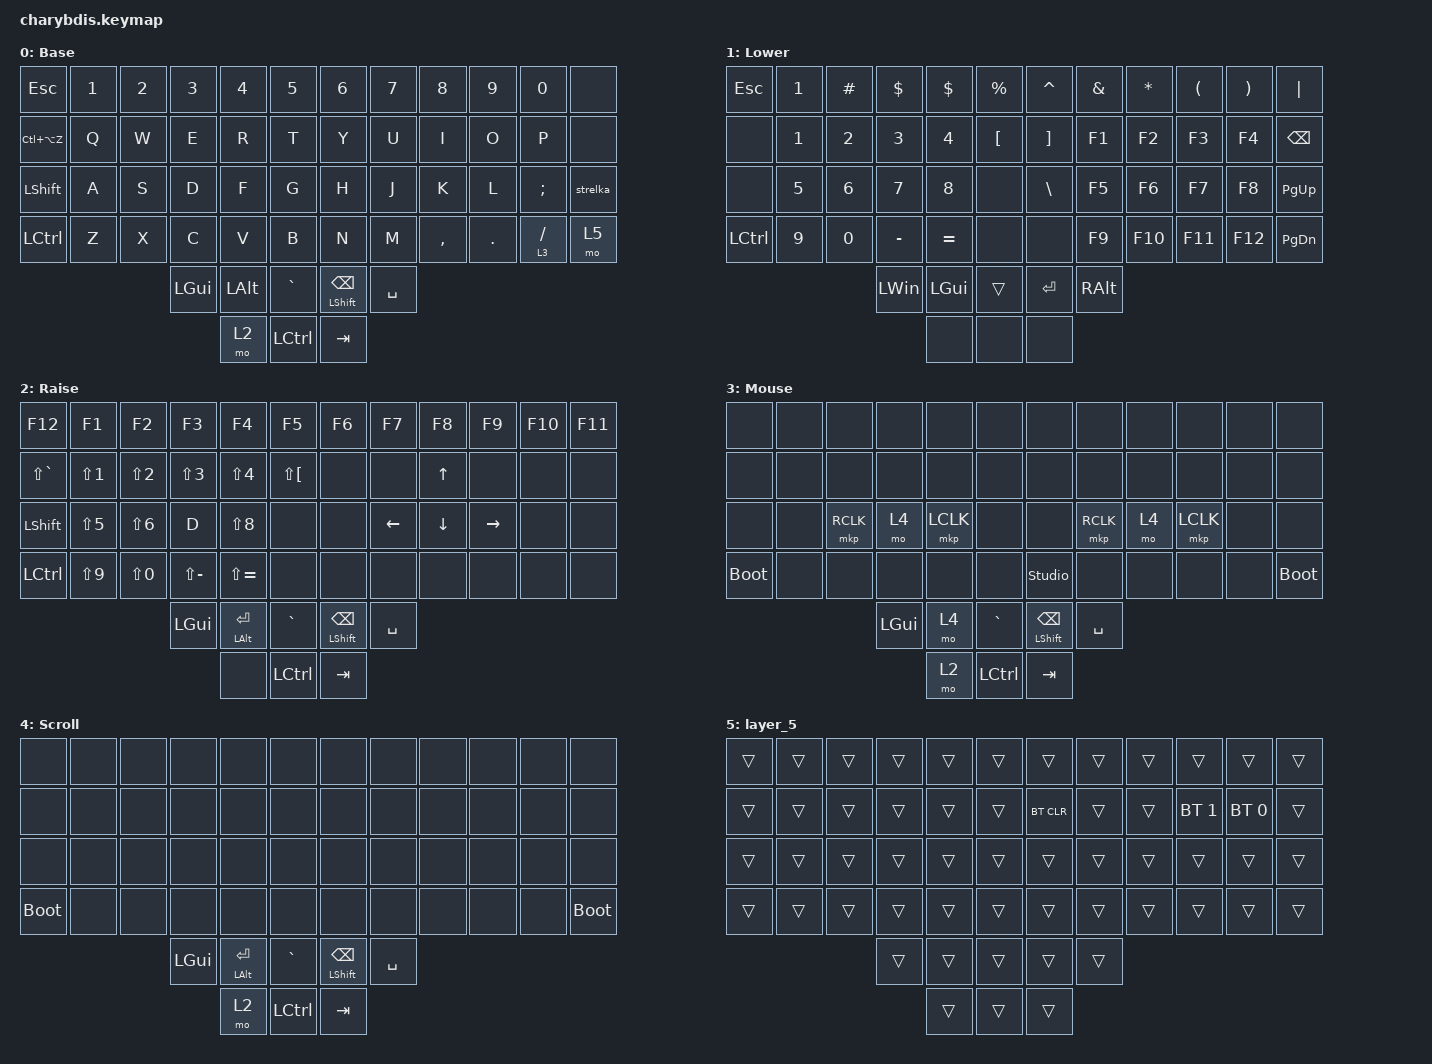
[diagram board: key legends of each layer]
#include <dt-bindings/zmk/mouse.h>
#include <behaviors.dtsi>
#include <dt-bindings/zmk/bt.h>
#include <dt-bindings/zmk/keys.h>
#include <dt-bindings/zmk/pointing.h>

&lt {
    tapping-term-ms = <200>;
    flavor = "balanced";
    quick-tap-ms = <150>;
};

/ {
    combos {
        compatible = "zmk,combos";

        rbl {
            bindings = <&kp LEFT_PARENTHESIS>;
            key-positions = <27 28>;
        };

        rbr {
            bindings = <&kp RIGHT_PARENTHESIS>;
            key-positions = <31 32>;
        };

        qbl {
            bindings = <&kp LEFT_BRACKET>;
            key-positions = <39 40>;
        };

        qbr {
            bindings = <&kp RIGHT_BRACKET>;
            key-positions = <43 44>;
        };

        fbl {
            bindings = <&kp LEFT_BRACE>;
            key-positions = <16 15>;
        };

        fbr {
            bindings = <&kp RIGHT_BRACE>;
            key-positions = <19 20>;
        };

        minus {
            bindings = <&kp MINUS>;
            key-positions = <43 40>;
        };

        backslash {
            bindings = <&kp BACKSLASH>;
            key-positions = <32 33>;
        };

        question {
            bindings = <&kp QUESTION>;
            key-positions = <45 38>;
        };

        plus {
            bindings = <&kp PLUS>;
            key-positions = <14 15>;
        };

        equal {
            bindings = <&kp EQUAL>;
            key-positions = <41 42>;
        };

        tilda {
            bindings = <&kp TILDE>;
            key-positions = <39 38>;
        };

        tochkazapyataya {
            bindings = <&kp SQT>;
            key-positions = <18 19>;
        };

        dvoetochie {
            bindings = <&kp DOUBLE_QUOTES>;
            key-positions = <21 20>;
        };

        apostrophe {
            bindings = <&kp P>;
            key-positions = <44 39>;
        };

        kavychki {
            bindings = <&kp LS(P)>;
            key-positions = <44 45>;
        };

        missioncontrol {
            bindings = <&kp LC(UP_ARROW)>;
            key-positions = <54 55>;
        };

        enter {
            bindings = <&kp ENTER>;
            key-positions = <49 52>;
        };

        nizhnee_podcherkivanie {
            bindings = <&kp LS(MINUS)>;
            key-positions = <41 40>;
        };
    };

    macros {
        strelka: strelka {
            compatible = "zmk,behavior-macro";
            #binding-cells = <0>;
            bindings = <&kp MINUS &kp GREATER_THAN>;
            label = "STRELKA";
        };
    };

    keymap {
        compatible = "zmk,keymap";

        Base {
            bindings = <
&kp ESCAPE      &kp N1  &kp N2  &kp N3        &kp N4        &kp N5              &kp N6                    &kp N7     &kp N8     &kp N9   &kp N0         &none
&kp LC(LA(Z))   &kp Q   &kp W   &kp E         &kp R         &kp T               &kp Y                     &kp U      &kp I      &kp O    &kp P          &none
&kp LEFT_SHIFT  &kp A   &kp S   &kp D         &kp F         &kp G               &kp H                     &kp J      &kp K      &kp L    &kp SEMICOLON  &strelka
&kp LCTRL       &kp Z   &kp X   &kp C         &kp V         &kp B               &kp N                     &kp M      &kp COMMA  &kp DOT  &lt 3 SLASH    &mo 5
                                &kp LEFT_GUI  &kp LEFT_ALT  &kp GRAVE           &mt LEFT_SHIFT BACKSPACE  &kp SPACE
                                              &mo 2         &kp LEFT_CONTROL    &kp TAB
            >;
        };

        Lower {
            bindings = <
&kp ESCAPE  &kp NUMBER_1  &kp HASH      &kp DOLLAR    &kp DOLLAR    &kp PERCENT    &kp CARET      &kp AMPERSAND  &kp ASTERISK  &kp LEFT_PARENTHESIS  &kp RIGHT_PARENTHESIS  &kp PIPE
&none       &kp NUMBER_1  &kp NUMBER_2  &kp NUMBER_3  &kp NUMBER_4  &kp LBKT       &kp RBKT       &kp F1         &kp F2        &kp F3                &kp F4                 &kp BACKSPACE
&none       &kp NUMBER_5  &kp NUMBER_6  &kp NUMBER_7  &kp NUMBER_8  &none          &kp BACKSLASH  &kp F5         &kp F6        &kp F7                &kp F8                 &kp PAGE_UP
&kp LCTRL   &kp NUMBER_9  &kp NUMBER_0  &kp MINUS     &kp EQUAL     &none          &none          &kp F9         &kp F10       &kp F11               &kp F12                &kp PAGE_DOWN
                                        &kp LEFT_WIN  &kp LEFT_GUI  &trans         &kp ENTER      &kp RIGHT_ALT
                                                      &none         &none          &none
            >;
        };

        Raise {
            bindings = <
&kp F12        &kp F1      &kp F2      &kp F3         &kp F4              &kp F5              &kp F6                    &kp F7     &kp F8        &kp F9     &kp F10  &kp F11
&kp LS(GRAVE)  &kp LS(N1)  &kp LS(N2)  &kp LS(N3)     &kp LS(N4)          &kp LS(LBKT)        &none                     &none      &kp UP_ARROW  &none      &none    &none
&kp LSHFT      &kp LS(N5)  &kp LS(N6)  &kp D          &kp LS(N8)          &none               &none                     &kp LEFT   &kp DOWN      &kp RIGHT  &none    &none
&kp LCTRL      &kp LS(N9)  &kp LS(N0)  &kp LS(MINUS)  &kp LS(EQUAL)       &none               &none                     &none      &none         &none      &none    &none
                                       &kp LEFT_GUI   &mt LEFT_ALT ENTER  &kp GRAVE           &mt LEFT_SHIFT BACKSPACE  &kp SPACE
                                                      &none               &kp LEFT_CONTROL    &kp TAB
            >;
        };

        Mouse {
            bindings = <
&none        &none  &none      &none         &none      &none               &none                     &none      &none  &none      &none  &none
&none        &none  &none      &none         &none      &none               &none                     &none      &none  &none      &none  &none
&none        &none  &mkp RCLK  &mo 4         &mkp LCLK  &none               &none                     &mkp RCLK  &mo 4  &mkp LCLK  &none  &none
&bootloader  &none  &none      &none         &none      &none               &studio_unlock            &none      &none  &none      &none  &bootloader
                               &kp LEFT_GUI  &mo 4      &kp GRAVE           &mt LEFT_SHIFT BACKSPACE  &kp SPACE
                                             &mo 2      &kp LEFT_CONTROL    &kp TAB
            >;
        };

        Scroll {
            bindings = <
&none        &none  &none  &none         &none               &none               &none                     &none      &none  &none  &none  &none
&none        &none  &none  &none         &none               &none               &none                     &none      &none  &none  &none  &none
&none        &none  &none  &none         &none               &none               &none                     &none      &none  &none  &none  &none
&bootloader  &none  &none  &none         &none               &none               &none                     &none      &none  &none  &none  &bootloader
                           &kp LEFT_GUI  &mt LEFT_ALT ENTER  &kp GRAVE           &mt LEFT_SHIFT BACKSPACE  &kp SPACE
                                         &mo 2               &kp LEFT_CONTROL    &kp TAB
            >;
        };

        layer_5 {
            bindings = <
&trans  &trans  &trans  &trans  &trans  &trans    &trans      &trans  &trans  &trans        &trans        &trans
&trans  &trans  &trans  &trans  &trans  &trans    &bt BT_CLR  &trans  &trans  &bt BT_SEL 1  &bt BT_SEL 0  &trans
&trans  &trans  &trans  &trans  &trans  &trans    &trans      &trans  &trans  &trans        &trans        &trans
&trans  &trans  &trans  &trans  &trans  &trans    &trans      &trans  &trans  &trans        &trans        &trans
                        &trans  &trans  &trans    &trans      &trans
                                &trans  &trans    &trans
            >;
        };
    };
};
